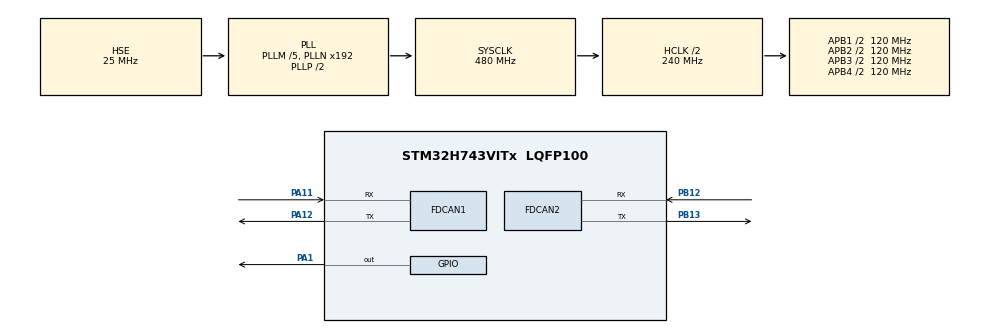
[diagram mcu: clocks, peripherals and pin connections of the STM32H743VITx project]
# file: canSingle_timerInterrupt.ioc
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FDCAN1.DataPrescaler=5
FDCAN1.DataTimeSeg1=5
FDCAN1.DataTimeSeg2=4
FDCAN1.NominalPrescaler=5
FDCAN1.NominalTimeSeg1=5
FDCAN1.NominalTimeSeg2=4
FDCAN1.RxBuffersNbr=10
FDCAN1.RxFifo0ElmtsNbr=20
FDCAN1.StdFiltersNbr=20
FDCAN1.TxBuffersNbr=10
FDCAN1.TxEventsNbr=10
Mcu.Family=STM32H7
Mcu.Name=STM32H743VITx
Mcu.Package=LQFP100
NVIC.FDCAN1_IT0_IRQn=true\:0\:0\:false\:false\:true\:true\:true
NVIC.FDCAN1_IT1_IRQn=true\:0\:0\:false\:false\:true\:true\:true
NVIC.PriorityGroup=NVIC_PRIORITYGROUP_4
NVIC.TIM1_BRK_IRQn=true\:0\:0\:false\:false\:true\:true\:true
NVIC.TIM1_CC_IRQn=true\:0\:0\:false\:false\:true\:true\:true
NVIC.TIM1_TRG_COM_IRQn=true\:0\:0\:false\:false\:true\:true\:true
NVIC.TIM1_UP_IRQn=true\:0\:0\:false\:false\:true\:true\:true
PA1.Signal=GPIO_Output
PA11.Mode=FDCAN_Activate
PA11.Signal=FDCAN1_RX
PA12.Mode=FDCAN_Activate
PA12.Signal=FDCAN1_TX
PA13\ (JTMS/SWDIO).Mode=Serial_Wire
PA13\ (JTMS/SWDIO).Signal=DEBUG_JTMS-SWDIO
PA14\ (JTCK/SWCLK).Mode=Serial_Wire
PA14\ (JTCK/SWCLK).Signal=DEBUG_JTCK-SWCLK
PB12.Mode=FDCAN_Activate
PB12.Signal=FDCAN2_RX
PB13.Mode=FDCAN_Activate
PB13.Signal=FDCAN2_TX
PH0-OSC_IN\ (PH0).Mode=HSE-External-Oscillator
PH0-OSC_IN\ (PH0).Signal=RCC_OSC_IN
PH1-OSC_OUT\ (PH1).Mode=HSE-External-Oscillator
PH1-OSC_OUT\ (PH1).Signal=RCC_OSC_OUT
ProjectManager.HeapSize=0x200
ProjectManager.StackSize=0x400
ProjectManager.TargetToolchain=MDK-ARM V5.27
RCC.ADCFreq_Value=50390625
RCC.APB1Freq_Value=120000000
RCC.APB2Freq_Value=120000000
RCC.APB3Freq_Value=120000000
RCC.APB4Freq_Value=120000000
RCC.CortexFreq_Value=480000000
RCC.D1PPRE=RCC_APB3_DIV2
RCC.D2PPRE1=RCC_APB1_DIV2
RCC.D2PPRE2=RCC_APB2_DIV2
RCC.D3PPRE=RCC_APB4_DIV2
RCC.DIVM1=5
RCC.DIVN1=192
RCC.DIVQ1=12
RCC.HCLKFreq_Value=240000000
RCC.HPRE=RCC_HCLK_DIV2
RCC.PLLFRACN=0
RCC.PLLSourceVirtual=RCC_PLLSOURCE_HSE
RCC.SYSCLKFreq_VALUE=480000000
RCC.SYSCLKSource=RCC_SYSCLKSOURCE_PLLCLK
RCC.USBFreq_Value=80000000
TIM1.Period=100
TIM1.TIM_MasterOutputTrigger=TIM_TRGO_UPDATE
TIM1.TIM_MasterOutputTrigger2=TIM_TRGO2_UPDATE
VP_TIM1_VS_ClockSourceINT.Mode=Internal
board=custom

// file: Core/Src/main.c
/* USER CODE BEGIN Header */
/**
  ******************************************************************************
  * @file           : main.c
  * @brief          : Main program body
  ******************************************************************************
  * @attention
  *
  * <h2><center>&copy; Copyright (c) 2021 STMicroelectronics.
  * All rights reserved.</center></h2>
  *
  * This software component is licensed by ST under BSD 3-Clause license,
  * the "License"; You may not use this file except in compliance with the
  * License. You may obtain a copy of the License at:
  *                        opensource.org/licenses/BSD-3-Clause
  *
  ******************************************************************************
  */
/* USER CODE END Header */
#include "main.h"
#include "fdcan.h"
#include "tim.h"
#include "gpio.h"

/* USER CODE BEGIN PV */

FDCAN_RxHeaderTypeDef RxMessage;
FDCAN_TxHeaderTypeDef TxMessage;
FDCAN_TxHeaderTypeDef TxHeader;

//Rx Txdata
uint8_t TxData[8]={0};
uint32_t TxMailbox;
uint8_t RxData[8]={0};

//address
uint16_t OwnID=0x123;
uint16_t RemoteID =0x0A0;

int16_t can_status =0;
int16_t can_fault =0;
/* USER CODE END PV */

void SystemClock_Config(void);
/* USER CODE BEGIN PFP */
void CAN_filterConfig(void);
void CAN_Txsetup(void);
void can1_transmit(uint32_t can_id , uint8_t tx_data[]);
void FDCAN1_Config(void);
/* USER CODE END PFP */

int main(void)
{

  /* MCU Configuration--------------------------------------------------------*/

  /* Reset of all peripherals, Initializes the Flash interface and the Systick. */
  HAL_Init();

  /* Configure the system clock */
  SystemClock_Config();

  /* Initialize all configured peripherals */
  MX_GPIO_Init();
  MX_FDCAN1_Init();
  MX_FDCAN2_Init();
  MX_TIM1_Init();
  /* USER CODE BEGIN 2 */
	HAL_TIM_Base_Start_IT(&htim1);
	FDCAN1_Config();
  /* USER CODE END 2 */

  /* Infinite loop */
  while (1)
  {

    /* USER CODE BEGIN 3 */
		can1_transmit(0x11111,TxData);
		//HAL_GPIO_TogglePin(GPIOA , GPIO_PIN_1);
		HAL_Delay(500);
  }
  /* USER CODE END 3 */
}

void SystemClock_Config(void)
{
  RCC_OscInitTypeDef RCC_OscInitStruct = {0};
  RCC_ClkInitTypeDef RCC_ClkInitStruct = {0};

  /** Supply configuration update enable
  */
  HAL_PWREx_ConfigSupply(PWR_LDO_SUPPLY);
  /** Configure the main internal regulator output voltage
  */
  __HAL_PWR_VOLTAGESCALING_CONFIG(PWR_REGULATOR_VOLTAGE_SCALE0);

  while(!__HAL_PWR_GET_FLAG(PWR_FLAG_VOSRDY)) {}
  /** Initializes the RCC Oscillators according to the specified parameters
  * in the RCC_OscInitTypeDef structure.
  */
  RCC_OscInitStruct.OscillatorType = RCC_OSCILLATORTYPE_HSE;
  RCC_OscInitStruct.HSEState = RCC_HSE_ON;
  RCC_OscInitStruct.PLL.PLLState = RCC_PLL_ON;
  RCC_OscInitStruct.PLL.PLLSource = RCC_PLLSOURCE_HSE;
  RCC_OscInitStruct.PLL.PLLM = 5;
  RCC_OscInitStruct.PLL.PLLN = 192;
  RCC_OscInitStruct.PLL.PLLP = 2;
  RCC_OscInitStruct.PLL.PLLQ = 5;
  RCC_OscInitStruct.PLL.PLLR = 2;
  RCC_OscInitStruct.PLL.PLLRGE = RCC_PLL1VCIRANGE_2;
  RCC_OscInitStruct.PLL.PLLVCOSEL = RCC_PLL1VCOWIDE;
  RCC_OscInitStruct.PLL.PLLFRACN = 0;
  if (HAL_RCC_OscConfig(&RCC_OscInitStruct) != HAL_OK)
  {
    Error_Handler();
  }
  /** Initializes the CPU, AHB and APB buses clocks
  */
  RCC_ClkInitStruct.ClockType = RCC_CLOCKTYPE_HCLK|RCC_CLOCKTYPE_SYSCLK
                              |RCC_CLOCKTYPE_PCLK1|RCC_CLOCKTYPE_PCLK2
                              |RCC_CLOCKTYPE_D3PCLK1|RCC_CLOCKTYPE_D1PCLK1;
  RCC_ClkInitStruct.SYSCLKSource = RCC_SYSCLKSOURCE_PLLCLK;
  RCC_ClkInitStruct.SYSCLKDivider = RCC_SYSCLK_DIV1;
  RCC_ClkInitStruct.AHBCLKDivider = RCC_HCLK_DIV2;
  RCC_ClkInitStruct.APB3CLKDivider = RCC_APB3_DIV2;
  RCC_ClkInitStruct.APB1CLKDivider = RCC_APB1_DIV2;
  RCC_ClkInitStruct.APB2CLKDivider = RCC_APB2_DIV2;
  RCC_ClkInitStruct.APB4CLKDivider = RCC_APB4_DIV2;

  if (HAL_RCC_ClockConfig(&RCC_ClkInitStruct, FLASH_LATENCY_4) != HAL_OK)
  {
    Error_Handler();
  }
}

/* USER CODE BEGIN 4 */
void HAL_TIM_PeriodElapsedCallback(TIM_HandleTypeDef *htim)
{
  /* Prevent unused argument(s) compilation warning */
  UNUSED(htim);

  /* NOTE : This function should not be modified, when the callback is needed,
            the HAL_TIM_PeriodElapsedCallback could be implemented in the user file
   */

}

void can1_transmit(uint32_t can_id , uint8_t tx_data[])
{
  TxMessage.Identifier = can_id;
  TxMessage.IdType = FDCAN_STANDARD_ID;
  TxMessage.TxFrameType = FDCAN_DATA_FRAME;
  TxMessage.DataLength = FDCAN_DLC_BYTES_8;
  TxMessage.ErrorStateIndicator = FDCAN_ESI_ACTIVE;
  TxMessage.BitRateSwitch = FDCAN_BRS_OFF;
  TxMessage.FDFormat = FDCAN_CLASSIC_CAN;
  TxMessage.TxEventFifoControl = FDCAN_NO_TX_EVENTS;
  TxMessage.MessageMarker = 0;  //Tx Event FIFO Use
	TxHeader.Identifier = 0x11111;
  TxHeader.IdType = FDCAN_EXTENDED_ID;
  TxHeader.TxFrameType = FDCAN_DATA_FRAME;
  TxHeader.DataLength = FDCAN_DLC_BYTES_8;
  TxHeader.ErrorStateIndicator = FDCAN_ESI_ACTIVE;
  TxHeader.BitRateSwitch = FDCAN_BRS_OFF;
  TxHeader.FDFormat = FDCAN_CLASSIC_CAN;
  TxHeader.TxEventFifoControl = FDCAN_NO_TX_EVENTS;
  TxHeader.MessageMarker = 0;
	can_status=2;
	//if(HAL_FDCAN_AddMessageToTxFifoQ(&hfdcan1, &TxMessage, tx_data)!= HAL_OK){
		//can_fault=3;
	//	Error_Handler();
	//}
	if(HAL_FDCAN_AddMessageToTxFifoQ(&hfdcan1, &TxHeader, TxData) != HAL_OK) {
			can_fault=3;
      Error_Handler();

  }
	can_status=3;
	HAL_GPIO_TogglePin(GPIOA , GPIO_PIN_1);
}

void FDCAN1_Config(void){
      	FDCAN_FilterTypeDef sFilterConfig;
       /* Configure Rx filter */
        sFilterConfig.IdType = FDCAN_STANDARD_ID;
        sFilterConfig.FilterIndex = 0;
        sFilterConfig.FilterType = FDCAN_FILTER_RANGE;
        sFilterConfig.FilterConfig = FDCAN_FILTER_TO_RXFIFO0;
        sFilterConfig.FilterID1 = 0x04;
        sFilterConfig.FilterID2 = 0x06;
       if (HAL_FDCAN_ConfigFilter(&hfdcan1, &sFilterConfig) != HAL_OK)
        {
					can_fault = 4;
       Error_Handler();
        }
       /* Configure global filter:
       Filter all remote frames with STD and EXT ID
       Reject non matching frames with STD ID and EXT ID */
       if (HAL_FDCAN_ConfigGlobalFilter(&hfdcan1, FDCAN_REJECT, FDCAN_REJECT, FDCAN_FILTER_REMOTE, FDCAN_FILTER_REMOTE) != HAL_OK)
        {
					can_fault=3;
       Error_Handler();
        }
       /* Start the FDCAN module */
       if (HAL_FDCAN_Start(&hfdcan1) != HAL_OK)
        {
					can_fault=1;
					Error_Handler();
        }
       if (HAL_FDCAN_ActivateNotification(&hfdcan1, FDCAN_IT_RX_FIFO0_NEW_MESSAGE, 0) != HAL_OK)
        {
					can_fault=2;
					Error_Handler();
        }

				can_status = 1;
      }

      void HAL_FDCAN_RxFifo0Callback(FDCAN_HandleTypeDef *hfdcan, uint32_t RxFifo0ITs)
      {
       if((RxFifo0ITs & FDCAN_IT_RX_FIFO0_NEW_MESSAGE) != RESET)
        {
       Error_Handler();
        }
      }
/* USER CODE END 4 */

void Error_Handler(void)
{
  __disable_irq();
  while (1)
  {
  }
}

/************************ (C) COPYRIGHT STMicroelectronics *****END OF FILE****/
